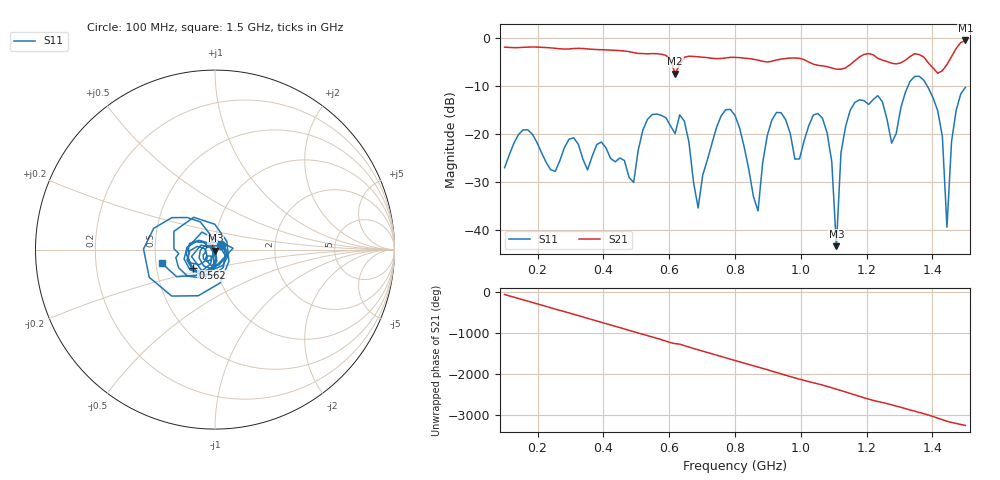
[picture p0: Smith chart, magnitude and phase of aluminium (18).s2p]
! NanoVNA-App
! Date: 2025-09-25 14:55:25
! Start: 100MHz Stop: 1,5GHz Points: 101
! S-Parameter data: F S11 S21 S12 S22
# Hz S RI R 50
!  Frequency  S11_Real  S11_Imag  S21_Real  S21_Imag  S12_Real  S12_Imag  S22_Real  S22_Imag
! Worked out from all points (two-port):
!   101 points, 100 MHz to 1.5 GHz, reference 50 ohm
!   highest |S21| = -0.53 dB at 1.5 GHz (marker M1); lowest = -7.4 dB at 618 MHz (marker M2)
!   |S21| within 3 dB of the highest: start of sweep to 584.6 MHz; 1.189 GHz to 1.22 GHz (30.82 MHz wide, 2.56 % of centre) (the widest 2 of 4)
!   lowest |S11| = -43.3 dB at 1.108 GHz (marker M3), VSWR 1.01, Z = 50.2 - j0.647 ohm
!   |S11| at or under -10 dB: start of sweep to 1.326 GHz; 1.384 GHz to end of sweep
!   S12 and S22 are empty: the file has one direction only
!   S11 on the Smith chart (normalised r, x): 100 MHz: 1.07, +0.06; 562 MHz: 0.76, -0.16; 1.5 GHz: 0.54, -0.09
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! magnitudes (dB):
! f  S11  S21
! 100 MHz  -27.0  -1.9
! 338 MHz  -25.2  -2.2
! 492 MHz  -30.1  -3.1
! 562 MHz  -15.8  -3.3
! 576 MHz  -16.1  -3.4
! 618 MHz  -19.9  -7.4
! 646 MHz  -17.3  -4.0
! 688 MHz  -35.4  -3.9
! 800 MHz  -16.1  -4.0
! 870 MHz  -36.0  -4.6
! 912 MHz  -17.1  -4.9
! 1.038 GHz  -16.1  -5.5
! 1.08 GHz  -19.8  -6.0
! 1.108 GHz  -43.3  -6.5
! 1.122 GHz  -23.9  -6.5
! 1.15 GHz  -15.1  -5.6
! 1.276 GHz  -21.9  -5.3
! 1.374 GHz  -8.8  -4.0
! 1.43 GHz  -20.5  -6.8
! 1.444 GHz  -39.4  -5.6
! 1.458 GHz  -21.5  -3.9
! 1.5 GHz  -10.3  -0.5
